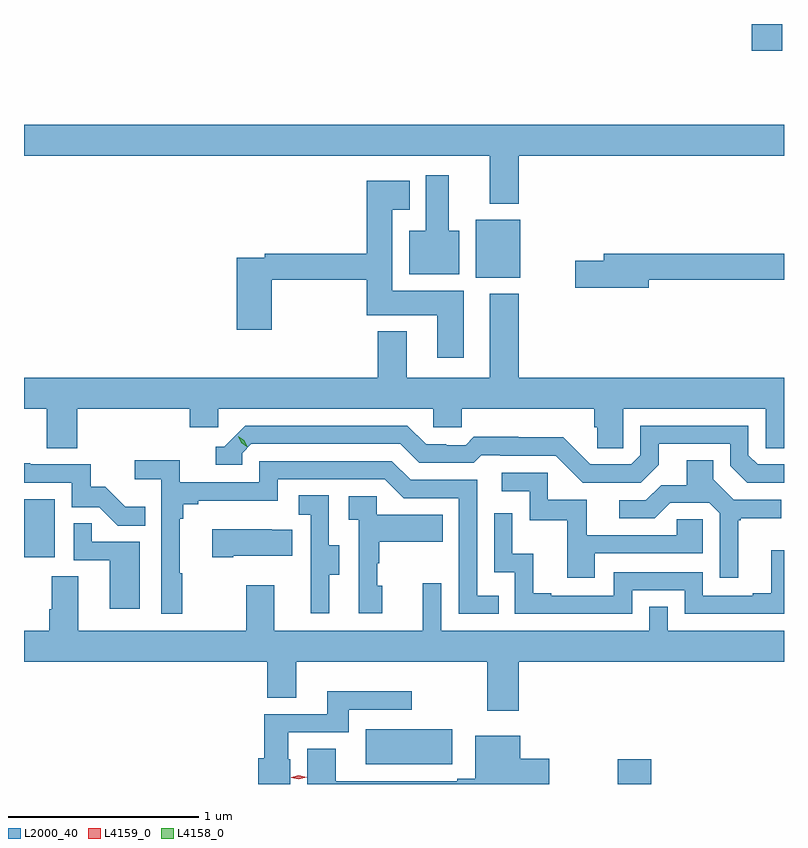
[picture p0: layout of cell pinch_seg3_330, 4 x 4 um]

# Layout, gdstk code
import gdstk
lib = gdstk.Library(unit=1e-6, precision=1e-09)
def R(c, l, rs):  # rectangles x0, y0, x1, y1
    for r in rs: c.add(gdstk.rectangle(r[:2], r[2:], *l))
def P(c, l, *ps):  # polygons
    for p in ps: c.add(gdstk.Polygon(p, *l))
L2000_40 = (2000, 40)
L4158_0 = (4158, 0)
L4159_0 = (4159, 0)

pinch_seg3_330 = lib.new_cell('pinch_seg3_330')
R(pinch_seg3_330, L2000_40, [(1013.377,720.253,1013.555,720.382), (1010.253,721.446,1010.416,721.753), (1012.631,722.918,1012.864,723.223), (1014.083,724.113,1014.243,724.253)])
P(pinch_seg3_330, L2000_40, [(1012.856,723.56),(1014.253,723.56),(1014.253,723.724),(1010.253,723.724),(1010.253,723.56),(1012.703,723.56),(1012.703,723.308),(1012.856,723.308)],
  [(1012.543,723.166),(1012.489,723.166),(1012.489,723.457),(1012.367,723.457),(1012.367,723.166),(1012.28,723.166),(1012.28,722.936),(1012.543,722.936)],
  [(1012.567,722.848),(1012.192,722.848),(1012.192,723.275),(1012.282,723.275),(1012.282,723.427),(1012.058,723.427),(1012.058,723.044),(1011.52,723.044),(1011.52,723.024),(1011.374,723.024),(1011.374,722.643),(1011.557,722.643),(1011.557,722.908),(1012.058,722.908),(1012.058,722.72),(1012.427,722.72),(1012.427,722.496),(1012.567,722.496)],
  [(1013.542,722.908),(1014.253,722.908),(1014.253,723.044),(1013.303,723.044),(1013.303,723.008),(1013.154,723.008),(1013.154,722.866),(1013.542,722.866)],
  [(1010.534,722.228),(1011.125,722.228),(1011.125,722.13),(1011.276,722.13),(1011.276,722.228),(1012.407,722.228),(1012.407,722.13),(1012.557,722.13),(1012.557,722.228),(1013.255,722.228),(1013.255,722.13),(1013.269,722.13),(1013.269,722.02),(1013.406,722.02),(1013.406,722.228),(1014.156,722.228),(1014.156,722.02),(1014.253,722.02),(1014.253,722.392),(1012.856,722.392),(1012.856,722.833),(1012.703,722.833),(1012.703,722.392),(1012.267,722.392),(1012.267,722.635),(1012.115,722.635),(1012.115,722.392),(1010.253,722.392),(1010.253,722.228),(1010.374,722.228),(1010.374,722.02),(1010.534,722.02)],
  [(1013.593,721.933),(1013.593,722.043),(1013.97,722.043),(1013.97,721.929),(1014.06,721.839),(1014.253,721.839),(1014.253,721.935),(1014.114,721.935),(1014.066,721.983),(1014.066,722.139),(1013.496,722.139),(1013.496,721.983),(1013.448,721.935),(1013.232,721.935),(1013.09,722.077),(1012.854,722.077),(1012.854,722.08),(1012.621,722.08),(1012.579,722.037),(1012.476,722.037),(1012.476,722.04),(1012.369,722.04),(1012.27,722.139),(1011.417,722.139),(1011.306,722.028),(1011.263,722.028),(1011.263,721.932),(1011.402,721.932),(1011.402,721.995),(1011.45,722.043),(1012.233,722.043),(1012.332,721.944),(1012.621,721.944),(1012.66,721.983),(1012.759,721.983),(1012.759,721.98),(1013.052,721.98),(1013.193,721.839),(1013.499,721.839)],
  [(1014.013,721.641),(1014.025,721.641),(1014.025,721.652),(1014.238,721.652),(1014.238,721.749),(1013.988,721.749),(1013.881,721.856),(1013.881,721.958),(1013.741,721.958),(1013.741,721.826),(1013.606,721.826),(1013.526,721.746),(1013.385,721.746),(1013.385,721.653),(1013.572,721.653),(1013.653,721.734),(1013.859,721.734),(1013.916,721.677),(1013.916,721.338),(1014.013,721.338)],
  [(1011.085,721.361),(1011.073,721.361),(1011.073,721.649),(1011.092,721.649),(1011.092,721.726),(1011.169,721.726),(1011.169,721.745),(1011.588,721.745),(1011.588,721.857),(1012.152,721.857),(1012.251,721.758),(1012.542,721.758),(1012.542,721.149),(1012.751,721.149),(1012.751,721.245),(1012.638,721.245),(1012.638,721.854),(1012.288,721.854),(1012.189,721.953),(1011.492,721.953),(1011.492,721.842),(1011.074,721.842),(1011.074,721.958),(1010.835,721.958),(1010.835,721.856),(1010.976,721.856),(1010.976,721.149),(1011.085,721.149)],
  [(1010.891,721.711),(1010.787,721.711),(1010.68,721.818),(1010.604,721.818),(1010.604,721.935),(1010.285,721.935),(1010.285,721.94),(1010.253,721.94),(1010.253,721.839),(1010.505,721.839),(1010.505,721.71),(1010.649,721.71),(1010.747,721.612),(1010.891,721.612)],
  [(1013.257,721.467),(1013.826,721.467),(1013.826,721.647),(1013.689,721.647),(1013.689,721.563),(1013.215,721.563),(1013.215,721.749),(1013.01,721.749),(1013.01,721.89),(1012.767,721.89),(1012.767,721.794),(1012.914,721.794),(1012.914,721.641),(1013.113,721.641),(1013.113,721.338),(1013.257,721.338)],
  [(1011.859,721.354),(1011.913,721.354),(1011.913,721.509),(1011.858,721.509),(1011.858,721.772),(1011.699,721.772),(1011.699,721.669),(1011.762,721.669),(1011.762,721.365),(1011.761,721.365),(1011.761,721.152),(1011.859,721.152)],
  [(1012.138,721.296),(1012.113,721.296),(1012.113,721.415),(1012.123,721.415),(1012.123,721.529),(1012.457,721.529),(1012.457,721.669),(1012.11,721.669),(1012.11,721.767),(1011.963,721.767),(1011.963,721.643),(1012.014,721.643),(1012.014,721.152),(1012.138,721.152)],
  [(1013.454,721.272),(1013.73,721.272),(1013.73,721.149),(1014.253,721.149),(1014.253,721.483),(1014.185,721.483),(1014.185,721.258),(1014.089,721.258),(1014.089,721.245),(1013.826,721.245),(1013.826,721.368),(1013.358,721.368),(1013.358,721.245),(1013.029,721.245),(1013.029,721.258),(1012.934,721.258),(1012.934,721.466),(1012.824,721.466),(1012.824,721.678),(1012.728,721.678),(1012.728,721.368),(1012.836,721.368),(1012.836,721.149),(1013.454,721.149)],
  [(1010.863,721.527),(1010.609,721.527),(1010.609,721.625),(1010.514,721.625),(1010.514,721.431),(1010.705,721.431),(1010.705,721.176),(1010.863,721.176)],
  [(1011.355,721.454),(1011.665,721.454),(1011.665,721.591),(1011.557,721.591),(1011.557,721.594),(1011.243,721.594),(1011.243,721.447),(1011.355,721.447)],
  [(1012.856,720.896),(1014.253,720.896),(1014.253,721.06),(1013.64,721.06),(1013.64,721.187),(1013.544,721.187),(1013.544,721.06),(1012.449,721.06),(1012.449,721.309),(1012.352,721.309),(1012.352,721.06),(1011.571,721.06),(1011.571,721.3),(1011.424,721.3),(1011.424,721.06),(1010.539,721.06),(1010.539,721.346),(1010.399,721.346),(1010.399,721.172),(1010.387,721.172),(1010.387,721.06),(1010.253,721.06),(1010.253,720.896),(1011.533,720.896),(1011.533,720.706),(1011.685,720.706),(1011.685,720.896),(1012.691,720.896),(1012.691,720.639),(1012.856,720.639)],
  [(1011.655,720.384),(1011.643,720.384),(1011.643,720.525),(1011.961,720.525),(1011.961,720.645),(1012.294,720.645),(1012.294,720.742),(1011.848,720.742),(1011.848,720.621),(1011.518,720.621),(1011.518,720.388),(1011.485,720.388),(1011.485,720.253),(1011.655,720.253)],
  [(1012.403,720.357),(1012.506,720.357),(1012.506,720.541),(1012.052,720.541),(1012.052,720.356),(1012.403,720.356)],
  [(1013.017,720.386),(1012.864,720.386),(1012.864,720.508),(1012.628,720.508),(1012.628,720.281),(1012.532,720.281),(1012.532,720.267),(1011.895,720.267),(1011.895,720.439),(1011.743,720.439),(1011.743,720.253),(1013.017,720.253)])
P(pinch_seg3_330, L4158_0, [(1011.426,722.029),(1011.396,722.049),(1011.38,722.082),(1011.38,722.083),(1011.38,722.083),(1011.411,722.062),(1011.427,722.029),(1011.427,722.029)])
P(pinch_seg3_330, L4159_0, [(1011.7,720.278),(1011.66,720.287),(1011.659,720.287),(1011.66,720.288),(1011.7,720.298),(1011.74,720.288),(1011.741,720.288),(1011.74,720.288)])

lib.write_gds('pinch_seg3_330.gds')
